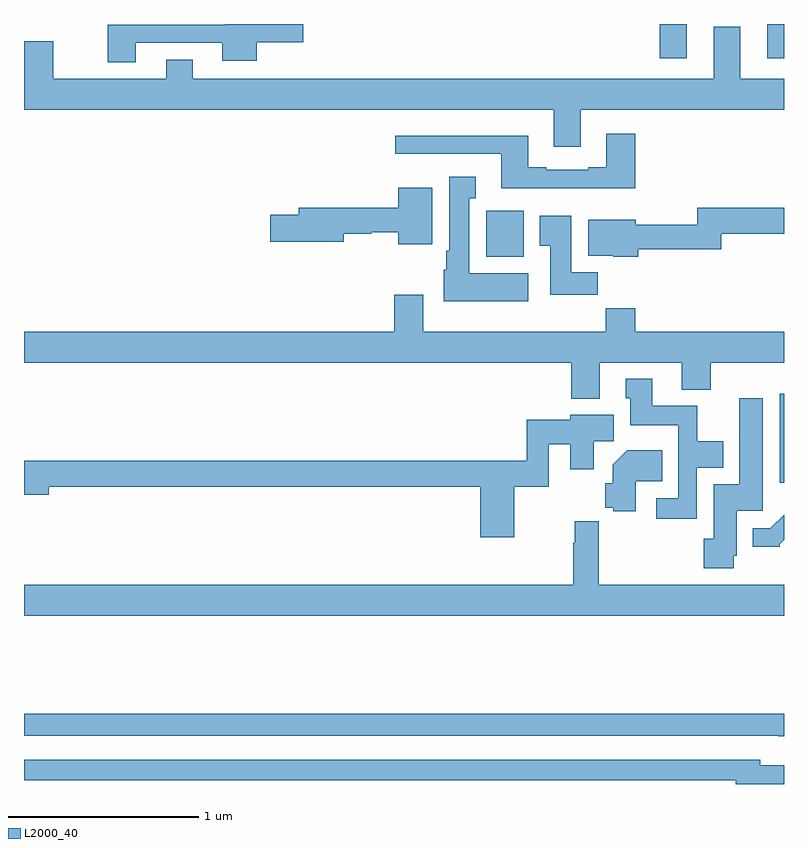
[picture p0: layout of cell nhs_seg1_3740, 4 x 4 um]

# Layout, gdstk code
import gdstk
lib = gdstk.Library(unit=1e-6, precision=1e-09)
def R(c, l, rs):  # rectangles x0, y0, x1, y1
    for r in rs: c.add(gdstk.rectangle(r[:2], r[2:], *l))
def P(c, l, *ps):  # polygons
    for p in ps: c.add(gdstk.Polygon(p, *l))
L2000_40 = (2000, 40)

nhs_seg1_3740 = lib.new_cell('nhs_seg1_3740')
R(nhs_seg1_3740, L2000_40, [(318.977,533.784,319,534.253), (317.432,534.974,317.629,535.216), (318.347,536.019,318.487,536.199), (318.911,536.019,319,536.199)])
P(nhs_seg1_3740, L2000_40, [(315.589,536.1),(316.043,536.1),(316.043,536.006),(316.225,536.006),(316.225,536.102),(316.471,536.102),(316.471,536.199),(316.058,536.199),(316.058,536.196),(315.442,536.196),(315.442,535.998),(315.589,535.998)],
  [(317.929,535.748),(319,535.748),(319,535.912),(318.769,535.912),(318.769,536.185),(318.629,536.185),(318.629,535.912),(315.889,535.912),(315.889,536.011),(315.749,536.011),(315.749,535.912),(315.153,535.912),(315.153,536.107),(315,536.107),(315,535.748),(317.789,535.748),(317.789,535.554),(317.929,535.554)],
  [(318.218,535.621),(318.065,535.621),(318.065,535.444),(317.969,535.444),(317.969,535.431),(317.749,535.431),(317.749,535.444),(317.653,535.444),(317.653,535.612),(316.953,535.612),(316.953,535.515),(317.513,535.515),(317.513,535.334),(318.218,535.334)],
  [(317.653,534.886),(317.344,534.886),(317.344,535.283),(317.377,535.283),(317.377,535.396),(317.237,535.396),(317.237,535.006),(317.222,535.006),(317.222,534.906),(317.21,534.906),(317.21,534.74),(317.653,534.74)],
  [(317.149,535.336),(316.97,535.336),(316.97,535.232),(316.445,535.232),(316.445,535.196),(316.296,535.196),(316.296,535.054),(316.684,535.054),(316.684,535.096),(316.827,535.096),(316.827,535.104),(316.97,535.104),(316.97,535.04),(317.149,535.04)],
  [(318.233,535.014),(318.671,535.014),(318.671,535.096),(319,535.096),(319,535.232),(318.543,535.232),(318.543,535.142),(318.22,535.142),(318.22,535.168),(317.969,535.168),(317.969,534.98),(318.102,534.98),(318.102,534.974),(318.233,534.974)],
  [(318.02,534.892),(317.881,534.892),(317.881,535.189),(317.714,535.189),(317.714,535.033),(317.771,535.033),(317.771,534.774),(318.02,534.774)],
  [(317.101,534.775),(316.949,534.775),(316.949,534.58),(315,534.58),(315,534.416),(317.879,534.416),(317.879,534.227),(318.031,534.227),(318.031,534.416),(318.461,534.416),(318.461,534.275),(318.614,534.275),(318.614,534.416),(319,534.416),(319,534.58),(318.218,534.58),(318.218,534.704),(318.061,534.704),(318.061,534.58),(317.101,534.58)],
  [(318.54,533.864),(318.679,533.864),(318.679,534.004),(318.543,534.004),(318.543,534.19),(318.307,534.19),(318.307,534.331),(318.167,534.331),(318.167,534.228),(318.191,534.228),(318.191,534.086),(318.444,534.086),(318.444,533.703),(318.327,533.703),(318.327,533.595),(318.54,533.595)],
  [(318.735,533.4),(318.751,533.4),(318.751,533.637),(318.889,533.637),(318.889,534.229),(318.764,534.229),(318.764,533.776),(318.629,533.776),(318.629,533.49),(318.578,533.49),(318.578,533.334),(318.735,533.334)],
  [(317.58,533.764),(317.763,533.764),(317.763,533.986),(317.876,533.986),(317.876,533.856),(317.998,533.856),(317.998,534.004),(318.103,534.004),(318.103,534.142),(317.876,534.142),(317.876,534.115),(317.647,534.115),(317.647,533.9),(315,533.9),(315,533.722),(315.13,533.722),(315.13,533.764),(317.402,533.764),(317.402,533.499),(317.58,533.499)],
  [(318.22,533.792),(318.359,533.792),(318.359,533.956),(318.176,533.956),(318.098,533.878),(318.098,533.782),(318.06,533.782),(318.06,533.654),(318.102,533.654),(318.102,533.635),(318.22,533.635)],
  [(318.978,533.462),(319,533.484),(319,533.617),(318.927,533.544),(318.836,533.544),(318.836,533.447),(318.978,533.447)],
  [(319,533.248),(318.026,533.248),(318.026,533.468),(318.025,533.468),(318.025,533.581),(317.898,533.581),(317.898,533.468),(317.89,533.468),(317.89,533.248),(315,533.248),(315,533.084),(319,533.084)],
  [(319,532.568),(315,532.568),(315,532.452),(318.97,532.452),(318.97,532.451),(319,532.451)],
  [(319,532.297),(318.874,532.297),(318.874,532.326),(315,532.326),(315,532.218),(318.746,532.218),(318.746,532.199),(319,532.199)])

lib.write_gds('nhs_seg1_3740.gds')
